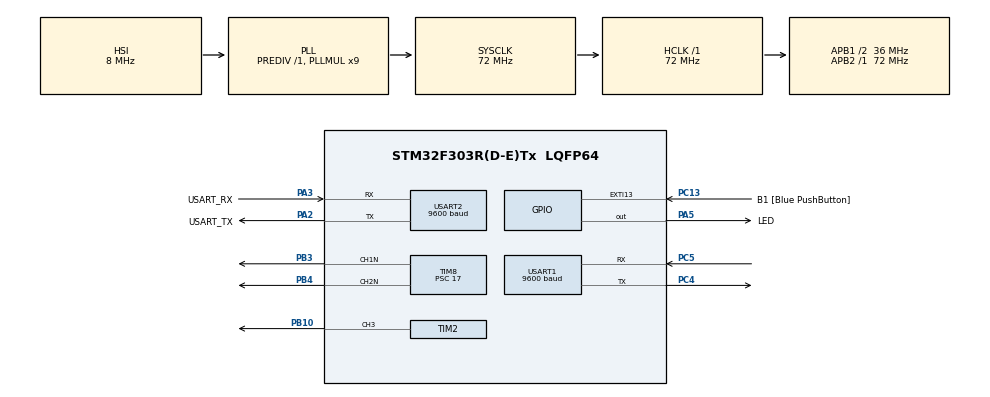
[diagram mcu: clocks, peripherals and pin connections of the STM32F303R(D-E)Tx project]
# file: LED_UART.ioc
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Dma.Request0=USART2_RX
Dma.Request1=USART2_TX
Dma.Request2=USART1_RX
Dma.Request3=USART1_TX
Dma.USART1_RX.2.Direction=DMA_PERIPH_TO_MEMORY
Dma.USART1_RX.2.Instance=DMA1_Channel5
Dma.USART1_RX.2.MemDataAlignment=DMA_MDATAALIGN_BYTE
Dma.USART1_RX.2.MemInc=DMA_MINC_ENABLE
Dma.USART1_RX.2.Mode=DMA_NORMAL
Dma.USART1_RX.2.PeriphDataAlignment=DMA_PDATAALIGN_BYTE
Dma.USART1_RX.2.PeriphInc=DMA_PINC_DISABLE
Dma.USART1_RX.2.Priority=DMA_PRIORITY_LOW
Dma.USART1_TX.3.Direction=DMA_MEMORY_TO_PERIPH
Dma.USART1_TX.3.Instance=DMA1_Channel4
Dma.USART1_TX.3.MemDataAlignment=DMA_MDATAALIGN_BYTE
Dma.USART1_TX.3.MemInc=DMA_MINC_ENABLE
Dma.USART1_TX.3.Mode=DMA_NORMAL
Dma.USART1_TX.3.PeriphDataAlignment=DMA_PDATAALIGN_BYTE
Dma.USART1_TX.3.PeriphInc=DMA_PINC_DISABLE
Dma.USART1_TX.3.Priority=DMA_PRIORITY_LOW
Dma.USART2_RX.0.Direction=DMA_PERIPH_TO_MEMORY
Dma.USART2_RX.0.Instance=DMA1_Channel6
Dma.USART2_RX.0.MemDataAlignment=DMA_MDATAALIGN_BYTE
Dma.USART2_RX.0.MemInc=DMA_MINC_ENABLE
Dma.USART2_RX.0.Mode=DMA_NORMAL
Dma.USART2_RX.0.PeriphDataAlignment=DMA_PDATAALIGN_BYTE
Dma.USART2_RX.0.PeriphInc=DMA_PINC_DISABLE
Dma.USART2_RX.0.Priority=DMA_PRIORITY_LOW
Dma.USART2_TX.1.Direction=DMA_MEMORY_TO_PERIPH
Dma.USART2_TX.1.Instance=DMA1_Channel7
Dma.USART2_TX.1.MemDataAlignment=DMA_MDATAALIGN_BYTE
Dma.USART2_TX.1.MemInc=DMA_MINC_ENABLE
Dma.USART2_TX.1.Mode=DMA_NORMAL
Dma.USART2_TX.1.PeriphDataAlignment=DMA_PDATAALIGN_BYTE
Dma.USART2_TX.1.PeriphInc=DMA_PINC_DISABLE
Dma.USART2_TX.1.Priority=DMA_PRIORITY_LOW
Mcu.Family=STM32F3
Mcu.Name=STM32F303R(D-E)Tx
Mcu.Package=LQFP64
NVIC.DMA1_Channel4_IRQn=true\:0\:0\:false\:false\:true\:false
NVIC.DMA1_Channel5_IRQn=true\:0\:0\:false\:false\:true\:false
NVIC.DMA1_Channel6_IRQn=true\:0\:0\:false\:false\:true\:false
NVIC.DMA1_Channel7_IRQn=true\:0\:0\:false\:false\:true\:false
NVIC.PriorityGroup=NVIC_PRIORITYGROUP_0
NVIC.USART1_IRQn=true\:0\:0\:false\:false\:true\:true
NVIC.USART2_IRQn=true\:0\:0\:false\:false\:true\:true
PA13.GPIO_Label=TMS
PA13.Mode=Serial_Wire
PA13.Signal=SYS_JTMS-SWDIO
PA14.GPIO_Label=TCK
PA14.Mode=Serial_Wire
PA14.Signal=SYS_JTCK-SWCLK
PA2.GPIO_Label=USART_TX
PA2.GPIO_Mode=GPIO_MODE_AF_PP
PA2.GPIO_PuPd=GPIO_NOPULL
PA2.GPIO_Speed=GPIO_SPEED_FREQ_LOW
PA2.Mode=Asynchronous
PA2.Signal=USART2_TX
PA3.GPIO_Label=USART_RX
PA3.GPIO_Mode=GPIO_MODE_AF_PP
PA3.GPIO_PuPd=GPIO_NOPULL
PA3.GPIO_Speed=GPIO_SPEED_FREQ_LOW
PA3.Mode=Asynchronous
PA3.Signal=USART2_RX
PA5.GPIO_Label=LED
PA5.GPIO_Mode=GPIO_MODE_OUTPUT_PP
PA5.GPIO_PuPd=GPIO_NOPULL
PA5.GPIO_Speed=GPIO_SPEED_FREQ_LOW
PA5.Signal=GPIO_Output
PB10.Signal=S_TIM2_CH3
PB3.Mode=PWM Generation1 CH1N
PB3.Signal=TIM8_CH1N
PB4.Mode=PWM Generation2 CH2N
PB4.Signal=TIM8_CH2N
PC13.GPIO_Label=B1 [Blue PushButton]
PC13.GPIO_ModeDefaultEXTI=GPIO_MODE_IT_FALLING
PC13.Signal=GPXTI13
PC14-OSC32_IN.Mode=LSE-External-Oscillator
PC14-OSC32_IN.Signal=RCC_OSC32_IN
PC15-OSC32_OUT.Mode=LSE-External-Oscillator
PC15-OSC32_OUT.Signal=RCC_OSC32_OUT
PC4.Mode=Asynchronous
PC4.Signal=USART1_TX
PC5.Mode=Asynchronous
PC5.Signal=USART1_RX
PF0-OSC_IN.Mode=HSE-External-Clock-Source
PF0-OSC_IN.Signal=RCC_OSC_IN
PF1-OSC_OUT.Signal=RCC_OSC_OUT
ProjectManager.HeapSize=0x200
ProjectManager.StackSize=0x400
ProjectManager.TargetToolchain=TrueSTUDIO
RCC.AHBFreq_Value=72000000
RCC.APB1CLKDivider=RCC_HCLK_DIV2
RCC.APB1Freq_Value=36000000
RCC.APB1TimFreq_Value=72000000
RCC.APB2Freq_Value=72000000
RCC.APB2TimFreq_Value=72000000
RCC.CortexFreq_Value=72000000
RCC.HCLKFreq_Value=72000000
RCC.HSE_VALUE=8000000
RCC.HSI_VALUE=8000000
RCC.PLLM=8
RCC.PLLMUL=RCC_PLL_MUL9
RCC.PLLN=336
RCC.PLLP=RCC_PLLP_DIV4
RCC.PLLQ=7
RCC.RCC_PLLsource_Clock_Source_FROM_HSE=RCC_HSE_PREDIV_DIV2
RCC.SYSCLKFreq_VALUE=72000000
RCC.SYSCLKSourceVirtual=RCC_SYSCLKSOURCE_PLLCLK
RCC.USBFreq_Value=72000000
SH.S_TIM2_CH3.0=TIM2_CH3,PWM Generation3 CH3
TIM2.Channel-PWM\ Generation3\ CH3=TIM_CHANNEL_3
TIM2.OCPolarity_3=TIM_OCPOLARITY_LOW
TIM2.Period=9999
TIM2.Prescaler=17
TIM8.Channel-PWM\ Generation1\ CH1N=TIM_CHANNEL_1
TIM8.Channel-PWM\ Generation2\ CH2N=TIM_CHANNEL_2
TIM8.OCNPolarity_1=TIM_OCNPOLARITY_LOW
TIM8.OCNPolarity_2=TIM_OCNPOLARITY_LOW
TIM8.Period=9999
TIM8.Prescaler=17
USART1.BaudRate=9600
USART1.VirtualMode-Asynchronous=VM_ASYNC
USART2.BaudRate=9600
USART2.VirtualMode-Asynchronous=VM_ASYNC
VP_TIM2_VS_ClockSourceINT.Mode=Internal
VP_TIM8_VS_ClockSourceINT.Mode=Internal
board=NUCLEO-F303RE

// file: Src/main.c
/* USER CODE BEGIN Header */
/**
 ******************************************************************************
 * @file           : main.c
 * @brief          : Main program body
 ******************************************************************************
 ** This notice applies to any and all portions of this file
 * that are not between comment pairs USER CODE BEGIN and
 * USER CODE END. Other portions of this file, whether
 * inserted by the user or by software development tools
 * are owned by their respective copyright owners.
 *
 * COPYRIGHT(c) 2019 STMicroelectronics
 *
 * Redistribution and use in source and binary forms, with or without modification,
 * are permitted provided that the following conditions are met:
 *   1. Redistributions of source code must retain the above copyright notice,
 *      this list of conditions and the following disclaimer.
 *   2. Redistributions in binary form must reproduce the above copyright notice,
 *      this list of conditions and the following disclaimer in the documentation
 *      and/or other materials provided with the distribution.
 *   3. Neither the name of STMicroelectronics nor the names of its contributors
 *      may be used to endorse or promote products derived from this software
 *      without specific prior written permission.
 *
 * THIS SOFTWARE IS PROVIDED BY THE COPYRIGHT HOLDERS AND CONTRIBUTORS "AS IS"
 * AND ANY EXPRESS OR IMPLIED WARRANTIES, INCLUDING, BUT NOT LIMITED TO, THE
 * IMPLIED WARRANTIES OF MERCHANTABILITY AND FITNESS FOR A PARTICULAR PURPOSE ARE
 * DISCLAIMED. IN NO EVENT SHALL THE COPYRIGHT HOLDER OR CONTRIBUTORS BE LIABLE
 * FOR ANY DIRECT, INDIRECT, INCIDENTAL, SPECIAL, EXEMPLARY, OR CONSEQUENTIAL
 * DAMAGES (INCLUDING, BUT NOT LIMITED TO, PROCUREMENT OF SUBSTITUTE GOODS OR
 * SERVICES; LOSS OF USE, DATA, OR PROFITS; OR BUSINESS INTERRUPTION) HOWEVER
 * CAUSED AND ON ANY THEORY OF LIABILITY, WHETHER IN CONTRACT, STRICT LIABILITY,
 * OR TORT (INCLUDING NEGLIGENCE OR OTHERWISE) ARISING IN ANY WAY OUT OF THE USE
 * OF THIS SOFTWARE, EVEN IF ADVISED OF THE POSSIBILITY OF SUCH DAMAGE.
 *
 ******************************************************************************
 */
/* USER CODE END Header */

#include "main.h"

/* USER CODE BEGIN Includes */
#include "math.h"
#include "stdlib.h"
/* USER CODE END Includes */

TIM_HandleTypeDef htim2;
TIM_HandleTypeDef htim8;

UART_HandleTypeDef huart1;
UART_HandleTypeDef huart2;
DMA_HandleTypeDef hdma_usart1_rx;
DMA_HandleTypeDef hdma_usart1_tx;
DMA_HandleTypeDef hdma_usart2_rx;
DMA_HandleTypeDef hdma_usart2_tx;

/* USER CODE BEGIN PV */
uint8_t Received[6];
double red = 0.5;
double green = 0.5;
double blue = 0.5;
double buffer;
double a;
/* USER CODE END PV */

void SystemClock_Config(void);
static void MX_GPIO_Init(void);
static void MX_DMA_Init(void);
static void MX_USART2_UART_Init(void);
static void MX_TIM2_Init(void);
static void MX_TIM8_Init(void);
static void MX_USART1_UART_Init(void);
/* USER CODE BEGIN PFP */

void set_led_brightness(TIM_HandleTypeDef * timer, uint32_t channel,
		double brightness) {
	int32_t value = powf(brightness, 2.2) * 9999;
	__HAL_TIM_SET_COMPARE(timer, channel, value);
}
typedef struct {
	double red;
	double green;
	double blue;
} rgb;
typedef struct {
	double hue;
	double saturation;
	double value;
} hsv;
rgb hsv2rgb(hsv in) {
	if (in.hue >= 360)
		in.hue = 0;
	double c = in.value * in.saturation;
	double x = c * (1 - fabs(fmod((in.hue / 60), 2) - 1));
	double m = in.value - c;
	rgb out;
	switch ((int) (in.hue / 60)) {
	case 0:
		out.red = c + m;
		out.green = x + m;
		out.blue = 0;
		break;
	case 1:
		out.red = x + m;
		out.green = c + m;
		out.blue = 0;
		break;
	case 2:
		out.red = 0;
		out.green = c + m;
		out.blue = x + m;
		break;
	case 3:
		out.red = 0;
		out.green = x + m;
		out.blue = c + m;
		break;
	case 4:
		out.red = x + m;
		out.green = 0;
		out.blue = c + m;
		break;
	case 5:
		out.red = c + m;
		out.green = 0;
		out.blue = x + m;
		break;
	}
	return out;
}
void set_color(hsv color_hsv) {
	rgb color_rgb = hsv2rgb(color_hsv);
	set_led_brightness(&htim2, TIM_CHANNEL_3, color_rgb.red);
	set_led_brightness(&htim8, TIM_CHANNEL_2, color_rgb.green);
	set_led_brightness(&htim8, TIM_CHANNEL_1, color_rgb.blue);
	red = color_rgb.red;
	green = color_rgb.green;
	blue = color_rgb.blue;
}
hsv color;

void HAL_UART_RxCpltCallback(UART_HandleTypeDef *huart) {

	HAL_GPIO_TogglePin(LED_GPIO_Port, LED_Pin);

	uint8_t Data[40]; // Tablica przechowujaca wysylana wiadomosc.
	uint16_t size = 0; // Rozmiar wysylanej wiadomosci
	buffer = atof(&Received);
	a = buffer;
	buffer /= 100.0;
	buffer -= 1000;
	size = sprintf(Data, "Odebrana wiadomosc: %f\n\r", buffer);
	HAL_UART_Transmit_IT(&huart1, Data, size);

	color.hue = buffer;

	if (color.hue >= 360.0)
		color.hue = 0.0;
	set_color(color);

	HAL_UART_Receive_DMA(&huart1, &Received, 6); // Ponowne w³¹czenie nas³uchiwania
}
/* USER CODE END PFP */

int main(void) {

	/* MCU Configuration--------------------------------------------------------*/

	/* Reset of all peripherals, Initializes the Flash interface and the Systick. */
	HAL_Init();

	/* Configure the system clock */
	SystemClock_Config();

	/* Initialize all configured peripherals */
	MX_GPIO_Init();
	MX_DMA_Init();
	MX_USART2_UART_Init();
	MX_TIM2_Init();
	MX_TIM8_Init();
	MX_USART1_UART_Init();
	/* USER CODE BEGIN 2 */
	HAL_UART_Receive_DMA(&huart1, &Received, 6);
	HAL_TIMEx_PWMN_Start(&htim8, TIM_CHANNEL_1);
	HAL_TIMEx_PWMN_Start(&htim8, TIM_CHANNEL_2);
	HAL_TIM_PWM_Start(&htim2, TIM_CHANNEL_3);
	set_led_brightness(&htim2, TIM_CHANNEL_3, red);
	set_led_brightness(&htim8, TIM_CHANNEL_2, green);
	set_led_brightness(&htim8, TIM_CHANNEL_1, blue);
	color.saturation = 1.0;
	color.value = 1.0;
	color.hue = 0.0;

	/* USER CODE END 2 */

	/* Infinite loop */
	while (1) {

		/* USER CODE BEGIN 3 */
		//HAL_UART_Transmit(&huart2, "DATA", 4, 100);
	}
	/* USER CODE END 3 */
}

void SystemClock_Config(void) {
	RCC_OscInitTypeDef RCC_OscInitStruct = { 0 };
	RCC_ClkInitTypeDef RCC_ClkInitStruct = { 0 };
	RCC_PeriphCLKInitTypeDef PeriphClkInit = { 0 };

	/**Initializes the CPU, AHB and APB busses clocks
	 */
	RCC_OscInitStruct.OscillatorType = RCC_OSCILLATORTYPE_HSI;
	RCC_OscInitStruct.HSIState = RCC_HSI_ON;
	RCC_OscInitStruct.HSICalibrationValue = RCC_HSICALIBRATION_DEFAULT;
	RCC_OscInitStruct.PLL.PLLState = RCC_PLL_ON;
	RCC_OscInitStruct.PLL.PLLSource = RCC_PLLSOURCE_HSI;
	RCC_OscInitStruct.PLL.PLLMUL = RCC_PLL_MUL9;
	RCC_OscInitStruct.PLL.PREDIV = RCC_PREDIV_DIV1;
	if (HAL_RCC_OscConfig(&RCC_OscInitStruct) != HAL_OK) {
		Error_Handler();
	}
	/**Initializes the CPU, AHB and APB busses clocks
	 */
	RCC_ClkInitStruct.ClockType = RCC_CLOCKTYPE_HCLK | RCC_CLOCKTYPE_SYSCLK
			| RCC_CLOCKTYPE_PCLK1 | RCC_CLOCKTYPE_PCLK2;
	RCC_ClkInitStruct.SYSCLKSource = RCC_SYSCLKSOURCE_PLLCLK;
	RCC_ClkInitStruct.AHBCLKDivider = RCC_SYSCLK_DIV1;
	RCC_ClkInitStruct.APB1CLKDivider = RCC_HCLK_DIV2;
	RCC_ClkInitStruct.APB2CLKDivider = RCC_HCLK_DIV1;

	if (HAL_RCC_ClockConfig(&RCC_ClkInitStruct, FLASH_LATENCY_2) != HAL_OK) {
		Error_Handler();
	}
	PeriphClkInit.PeriphClockSelection = RCC_PERIPHCLK_USART1
			| RCC_PERIPHCLK_USART2 | RCC_PERIPHCLK_TIM8 | RCC_PERIPHCLK_TIM2;
	PeriphClkInit.Usart1ClockSelection = RCC_USART1CLKSOURCE_PCLK2;
	PeriphClkInit.Usart2ClockSelection = RCC_USART2CLKSOURCE_PCLK1;
	PeriphClkInit.Tim8ClockSelection = RCC_TIM8CLK_HCLK;
	PeriphClkInit.Tim2ClockSelection = RCC_TIM2CLK_HCLK;
	if (HAL_RCCEx_PeriphCLKConfig(&PeriphClkInit) != HAL_OK) {
		Error_Handler();
	}
}

static void MX_TIM2_Init(void) {

	TIM_ClockConfigTypeDef sClockSourceConfig = { 0 };
	TIM_MasterConfigTypeDef sMasterConfig = { 0 };
	TIM_OC_InitTypeDef sConfigOC = { 0 };

	htim2.Instance = TIM2;
	htim2.Init.Prescaler = 17;
	htim2.Init.CounterMode = TIM_COUNTERMODE_UP;
	htim2.Init.Period = 9999;
	htim2.Init.ClockDivision = TIM_CLOCKDIVISION_DIV1;
	htim2.Init.AutoReloadPreload = TIM_AUTORELOAD_PRELOAD_DISABLE;
	if (HAL_TIM_Base_Init(&htim2) != HAL_OK) {
		Error_Handler();
	}
	sClockSourceConfig.ClockSource = TIM_CLOCKSOURCE_INTERNAL;
	if (HAL_TIM_ConfigClockSource(&htim2, &sClockSourceConfig) != HAL_OK) {
		Error_Handler();
	}
	if (HAL_TIM_PWM_Init(&htim2) != HAL_OK) {
		Error_Handler();
	}
	sMasterConfig.MasterOutputTrigger = TIM_TRGO_RESET;
	sMasterConfig.MasterSlaveMode = TIM_MASTERSLAVEMODE_DISABLE;
	if (HAL_TIMEx_MasterConfigSynchronization(&htim2, &sMasterConfig)
			!= HAL_OK) {
		Error_Handler();
	}
	sConfigOC.OCMode = TIM_OCMODE_PWM1;
	sConfigOC.Pulse = 0;
	sConfigOC.OCPolarity = TIM_OCPOLARITY_LOW;
	sConfigOC.OCFastMode = TIM_OCFAST_DISABLE;
	if (HAL_TIM_PWM_ConfigChannel(&htim2, &sConfigOC, TIM_CHANNEL_3)
			!= HAL_OK) {
		Error_Handler();
	}
	HAL_TIM_MspPostInit(&htim2);

}

static void MX_TIM8_Init(void) {

	TIM_ClockConfigTypeDef sClockSourceConfig = { 0 };
	TIM_MasterConfigTypeDef sMasterConfig = { 0 };
	TIM_OC_InitTypeDef sConfigOC = { 0 };
	TIM_BreakDeadTimeConfigTypeDef sBreakDeadTimeConfig = { 0 };

	htim8.Instance = TIM8;
	htim8.Init.Prescaler = 17;
	htim8.Init.CounterMode = TIM_COUNTERMODE_UP;
	htim8.Init.Period = 9999;
	htim8.Init.ClockDivision = TIM_CLOCKDIVISION_DIV1;
	htim8.Init.RepetitionCounter = 0;
	htim8.Init.AutoReloadPreload = TIM_AUTORELOAD_PRELOAD_DISABLE;
	if (HAL_TIM_Base_Init(&htim8) != HAL_OK) {
		Error_Handler();
	}
	sClockSourceConfig.ClockSource = TIM_CLOCKSOURCE_INTERNAL;
	if (HAL_TIM_ConfigClockSource(&htim8, &sClockSourceConfig) != HAL_OK) {
		Error_Handler();
	}
	if (HAL_TIM_PWM_Init(&htim8) != HAL_OK) {
		Error_Handler();
	}
	sMasterConfig.MasterOutputTrigger = TIM_TRGO_RESET;
	sMasterConfig.MasterOutputTrigger2 = TIM_TRGO2_RESET;
	sMasterConfig.MasterSlaveMode = TIM_MASTERSLAVEMODE_DISABLE;
	if (HAL_TIMEx_MasterConfigSynchronization(&htim8, &sMasterConfig)
			!= HAL_OK) {
		Error_Handler();
	}
	sConfigOC.OCMode = TIM_OCMODE_PWM1;
	sConfigOC.Pulse = 0;
	sConfigOC.OCPolarity = TIM_OCPOLARITY_HIGH;
	sConfigOC.OCNPolarity = TIM_OCNPOLARITY_LOW;
	sConfigOC.OCFastMode = TIM_OCFAST_DISABLE;
	sConfigOC.OCIdleState = TIM_OCIDLESTATE_RESET;
	sConfigOC.OCNIdleState = TIM_OCNIDLESTATE_RESET;
	if (HAL_TIM_PWM_ConfigChannel(&htim8, &sConfigOC, TIM_CHANNEL_1)
			!= HAL_OK) {
		Error_Handler();
	}
	if (HAL_TIM_PWM_ConfigChannel(&htim8, &sConfigOC, TIM_CHANNEL_2)
			!= HAL_OK) {
		Error_Handler();
	}
	sBreakDeadTimeConfig.OffStateRunMode = TIM_OSSR_DISABLE;
	sBreakDeadTimeConfig.OffStateIDLEMode = TIM_OSSI_DISABLE;
	sBreakDeadTimeConfig.LockLevel = TIM_LOCKLEVEL_OFF;
	sBreakDeadTimeConfig.DeadTime = 0;
	sBreakDeadTimeConfig.BreakState = TIM_BREAK_DISABLE;
	sBreakDeadTimeConfig.BreakPolarity = TIM_BREAKPOLARITY_HIGH;
	sBreakDeadTimeConfig.BreakFilter = 0;
	sBreakDeadTimeConfig.Break2State = TIM_BREAK2_DISABLE;
	sBreakDeadTimeConfig.Break2Polarity = TIM_BREAK2POLARITY_HIGH;
	sBreakDeadTimeConfig.Break2Filter = 0;
	sBreakDeadTimeConfig.AutomaticOutput = TIM_AUTOMATICOUTPUT_DISABLE;
	if (HAL_TIMEx_ConfigBreakDeadTime(&htim8, &sBreakDeadTimeConfig)
			!= HAL_OK) {
		Error_Handler();
	}
	HAL_TIM_MspPostInit(&htim8);

}

static void MX_USART1_UART_Init(void) {

	huart1.Instance = USART1;
	huart1.Init.BaudRate = 9600;
	huart1.Init.WordLength = UART_WORDLENGTH_8B;
	huart1.Init.StopBits = UART_STOPBITS_1;
	huart1.Init.Parity = UART_PARITY_NONE;
	huart1.Init.Mode = UART_MODE_TX_RX;
	huart1.Init.HwFlowCtl = UART_HWCONTROL_NONE;
	huart1.Init.OverSampling = UART_OVERSAMPLING_16;
	huart1.Init.OneBitSampling = UART_ONE_BIT_SAMPLE_DISABLE;
	huart1.AdvancedInit.AdvFeatureInit = UART_ADVFEATURE_NO_INIT;
	if (HAL_UART_Init(&huart1) != HAL_OK) {
		Error_Handler();
	}

}

static void MX_USART2_UART_Init(void) {

	huart2.Instance = USART2;
	huart2.Init.BaudRate = 9600;
	huart2.Init.WordLength = UART_WORDLENGTH_8B;
	huart2.Init.StopBits = UART_STOPBITS_1;
	huart2.Init.Parity = UART_PARITY_NONE;
	huart2.Init.Mode = UART_MODE_TX_RX;
	huart2.Init.HwFlowCtl = UART_HWCONTROL_NONE;
	huart2.Init.OverSampling = UART_OVERSAMPLING_16;
	huart2.Init.OneBitSampling = UART_ONE_BIT_SAMPLE_DISABLE;
	huart2.AdvancedInit.AdvFeatureInit = UART_ADVFEATURE_NO_INIT;
	if (HAL_UART_Init(&huart2) != HAL_OK) {
		Error_Handler();
	}

}

static void MX_DMA_Init(void) {
	/* DMA controller clock enable */
	__HAL_RCC_DMA1_CLK_ENABLE()
	;

	/* DMA interrupt init */
	/* DMA1_Channel4_IRQn interrupt configuration */
	HAL_NVIC_SetPriority(DMA1_Channel4_IRQn, 0, 0);
	HAL_NVIC_EnableIRQ(DMA1_Channel4_IRQn);
	/* DMA1_Channel5_IRQn interrupt configuration */
	HAL_NVIC_SetPriority(DMA1_Channel5_IRQn, 0, 0);
	HAL_NVIC_EnableIRQ(DMA1_Channel5_IRQn);
	/* DMA1_Channel6_IRQn interrupt configuration */
	HAL_NVIC_SetPriority(DMA1_Channel6_IRQn, 0, 0);
	HAL_NVIC_EnableIRQ(DMA1_Channel6_IRQn);
	/* DMA1_Channel7_IRQn interrupt configuration */
	HAL_NVIC_SetPriority(DMA1_Channel7_IRQn, 0, 0);
	HAL_NVIC_EnableIRQ(DMA1_Channel7_IRQn);

}

static void MX_GPIO_Init(void) {
	GPIO_InitTypeDef GPIO_InitStruct = { 0 };

	/* GPIO Ports Clock Enable */
	__HAL_RCC_GPIOC_CLK_ENABLE()
	;
	__HAL_RCC_GPIOF_CLK_ENABLE()
	;
	__HAL_RCC_GPIOA_CLK_ENABLE()
	;
	__HAL_RCC_GPIOB_CLK_ENABLE()
	;

	/*Configure GPIO pin Output Level */
	HAL_GPIO_WritePin(LED_GPIO_Port, LED_Pin, GPIO_PIN_RESET);

	/*Configure GPIO pin : B1_Pin */
	GPIO_InitStruct.Pin = B1_Pin;
	GPIO_InitStruct.Mode = GPIO_MODE_IT_FALLING;
	GPIO_InitStruct.Pull = GPIO_NOPULL;
	HAL_GPIO_Init(B1_GPIO_Port, &GPIO_InitStruct);

	/*Configure GPIO pin : LED_Pin */
	GPIO_InitStruct.Pin = LED_Pin;
	GPIO_InitStruct.Mode = GPIO_MODE_OUTPUT_PP;
	GPIO_InitStruct.Pull = GPIO_NOPULL;
	GPIO_InitStruct.Speed = GPIO_SPEED_FREQ_LOW;
	HAL_GPIO_Init(LED_GPIO_Port, &GPIO_InitStruct);

}

void Error_Handler(void) {
}

/************************ (C) COPYRIGHT STMicroelectronics *****END OF FILE****/
